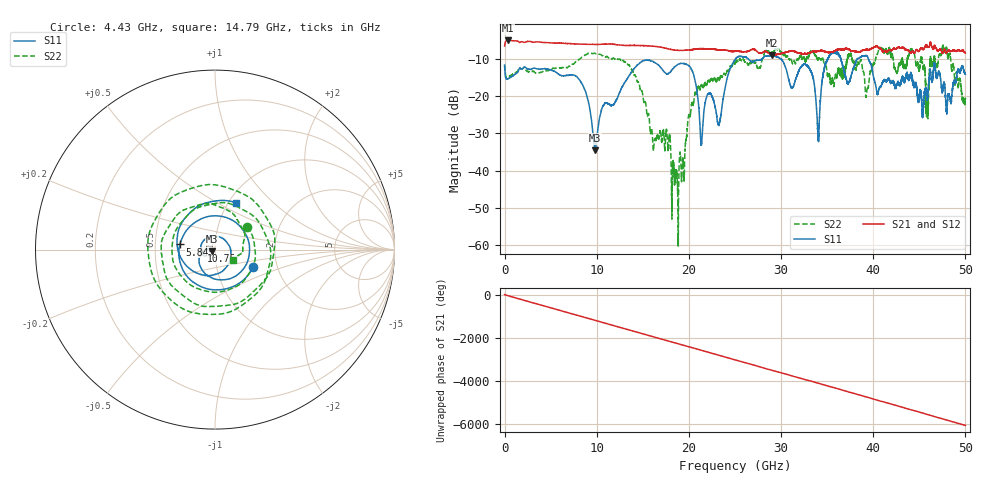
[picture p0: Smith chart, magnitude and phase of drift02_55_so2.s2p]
!Created with skrf (http://scikit-rf.org).
# Hz S RI R 50.0
!freq ReS11 ImS11 ReS21 ImS21 ReS12 ImS12 ReS22 ImS22
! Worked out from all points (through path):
!   10001 points, 300 kHz to 50 GHz, reference 50 ohm
!   highest |S21| = -5.04 dB at 325.3 MHz (marker M1); lowest = -9.0 dB at 29.01 GHz (marker M2)
!   group delay of S21, straight-line fit = 336 ps
!   lowest |S11| = -34.5 dB at 9.815 GHz (marker M3), VSWR 1.04, Z = 48.4 - j0.887 ohm
!   |S11| at or under -10 dB: start of sweep to 25.06 GHz; 29.97 GHz to 35.05 GHz (5.088 GHz wide, 15.7 % of centre); 39.48 GHz to end of sweep (the widest 3 of 9)
!   |S22| runs from -60.3 to -6.2 dB; largest |S21 - S12| = 0.02
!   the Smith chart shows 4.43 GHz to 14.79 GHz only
!   S11 on the Smith chart (normalised r, x): 4.43 GHz: 1.50, -0.31; 5.845 GHz: 0.67, +0.04; 10.75 GHz: 0.86, -0.02; 14.79 GHz: 1.09, +0.62
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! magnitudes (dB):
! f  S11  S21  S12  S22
! 300 kHz  -11.7  -6.5  -6.4  -11.6
! 325.3 MHz  -15.4  -5.0  -5.0  -15.0
! 4.43 GHz  -12.6  -5.6  -5.6  -13.3
! 5.845 GHz  -14.1  -5.7  -5.7  -12.5
! 8.335 GHz  -16.4  -6.0  -6.0  -9.6
! 9.815 GHz  -34.5  -6.1  -6.1  -8.5
! 10.75 GHz  -22.4  -6.1  -6.1  -9.2
! 14.79 GHz  -10.9  -6.4  -6.4  -18.6
! 16.67 GHz  -11.6  -6.7  -6.7  -31.0
! 18.67 GHz  -11.8  -7.7  -7.7  -40.4
! 20.37 GHz  -13.3  -7.5  -7.5  -21.9
! 21.37 GHz  -32.5  -7.2  -7.2  -16.9
! 23.31 GHz  -27.3  -7.5  -7.6  -15.7
! 25 GHz  -10.3  -8.0  -7.9  -11.2
! 29.01 GHz  -9.1  -9.0  -9.0  -8.1
! 33.34 GHz  -13.9  -8.1  -8.1  -8.1
! 34.02 GHz  -31.9  -7.9  -8.0  -10.3
! 35.58 GHz  -8.4  -8.1  -8.1  -15.4
! 41.67 GHz  -15.3  -7.7  -7.7  -7.4
! 45.87 GHz  -20.1  -6.8  -6.9  -22.5
! 47.76 GHz  -17.2  -7.5  -7.5  -7.6
! 50 GHz  -14.1  -8.4  -8.4  -20.9
